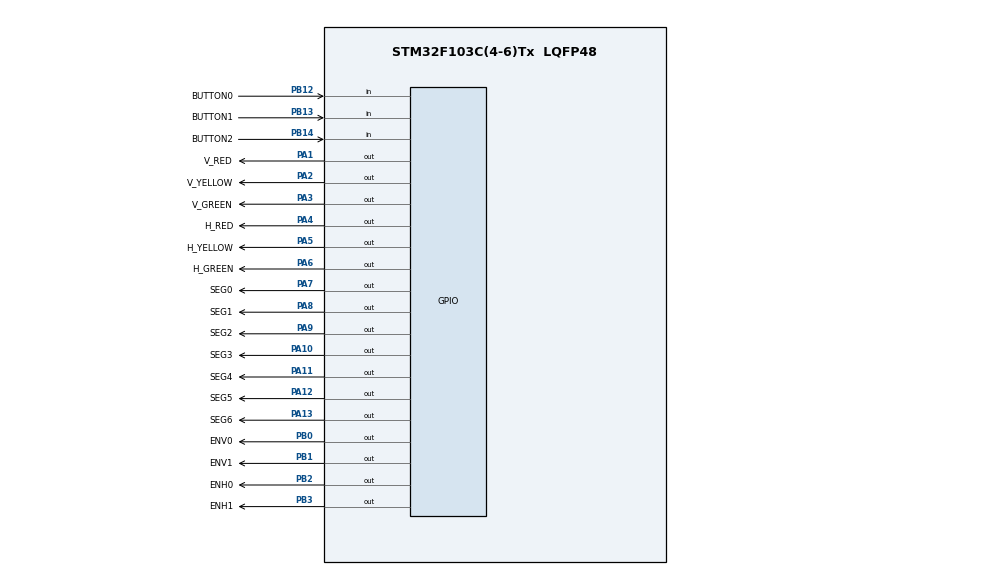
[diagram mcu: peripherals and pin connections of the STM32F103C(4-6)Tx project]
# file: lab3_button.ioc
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Mcu.Family=STM32F1
Mcu.Name=STM32F103C(4-6)Tx
Mcu.Package=LQFP48
NVIC.PriorityGroup=NVIC_PRIORITYGROUP_4
NVIC.TIM2_IRQn=true\:0\:0\:false\:false\:true\:true\:true
PA1.GPIO_Label=V_RED
PA1.Signal=GPIO_Output
PA10.GPIO_Label=SEG3
PA10.Signal=GPIO_Output
PA11.GPIO_Label=SEG4
PA11.Signal=GPIO_Output
PA12.GPIO_Label=SEG5
PA12.Signal=GPIO_Output
PA13.GPIO_Label=SEG6
PA13.Signal=GPIO_Output
PA2.GPIO_Label=V_YELLOW
PA2.Signal=GPIO_Output
PA3.GPIO_Label=V_GREEN
PA3.Signal=GPIO_Output
PA4.GPIO_Label=H_RED
PA4.Signal=GPIO_Output
PA5.GPIO_Label=H_YELLOW
PA5.Signal=GPIO_Output
PA6.GPIO_Label=H_GREEN
PA6.Signal=GPIO_Output
PA7.GPIO_Label=SEG0
PA7.Signal=GPIO_Output
PA8.GPIO_Label=SEG1
PA8.Signal=GPIO_Output
PA9.GPIO_Label=SEG2
PA9.Signal=GPIO_Output
PB0.GPIO_Label=ENV0
PB0.Signal=GPIO_Output
PB1.GPIO_Label=ENV1
PB1.Signal=GPIO_Output
PB12.GPIO_Label=BUTTON0
PB12.GPIO_PuPd=GPIO_PULLUP
PB12.Signal=GPIO_Input
PB13.GPIO_Label=BUTTON1
PB13.GPIO_PuPd=GPIO_PULLUP
PB13.Signal=GPIO_Input
PB14.GPIO_Label=BUTTON2
PB14.GPIO_PuPd=GPIO_PULLUP
PB14.Signal=GPIO_Input
PB2.GPIO_Label=ENH0
PB2.Signal=GPIO_Output
PB3.GPIO_Label=ENH1
PB3.Signal=GPIO_Output
ProjectManager.HeapSize=0x200
ProjectManager.StackSize=0x400
ProjectManager.TargetToolchain=STM32CubeIDE
RCC.APB1Freq_Value=8000000
RCC.APB2Freq_Value=8000000
TIM2.Period=9
TIM2.Prescaler=7999
VP_SYS_VS_ND.Mode=No_Debug
VP_TIM2_VS_ClockSourceINT.Mode=Internal
board=custom

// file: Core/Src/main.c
/* USER CODE BEGIN Header */
/**
  ******************************************************************************
  * @file           : main.c
  * @brief          : Main program body
  ******************************************************************************
  * @attention
  *
  * <h2><center>&copy; Copyright (c) 2023 STMicroelectronics.
  * All rights reserved.</center></h2>
  *
  * This software component is licensed by ST under BSD 3-Clause license,
  * the "License"; You may not use this file except in compliance with the
  * License. You may obtain a copy of the License at:
  *                        opensource.org/licenses/BSD-3-Clause
  *
  ******************************************************************************
  */
/* USER CODE END Header */
#include "main.h"

/* USER CODE BEGIN Includes */
#include "software_timer.h"
#include "button.h"
#include "traffic_light.h"
#include "led7seg.h"
#include "mode1.h"
#include "mode2.h"
#include "mode3.h"
#include "mode4.h"
/* USER CODE END Includes */

/* USER CODE BEGIN PD */
#define CHANGE_1 100	// (*timer_interupt_duration)
#define CHANGE_2 25

/* USER CODE END PD */

TIM_HandleTypeDef htim2;

void SystemClock_Config(void);
static void MX_GPIO_Init(void);
static void MX_TIM2_Init(void);

int main(void)
{

  /* MCU Configuration--------------------------------------------------------*/

  /* Reset of all peripherals, Initializes the Flash interface and the Systick. */
  HAL_Init();

  /* Configure the system clock */
  SystemClock_Config();

  /* Initialize all configured peripherals */
  MX_GPIO_Init();
  MX_TIM2_Init();
  /* USER CODE BEGIN 2 */
  HAL_TIM_Base_Start_IT(&htim2);
  /* USER CODE END 2 */

  /* Infinite loop */
  /* USER CODE BEGIN WHILE */
  /* Initialize initial value */
  // timer interupt
  set_timer(0, 2);	// change mode
  set_timer(1, 2);	// blink led
  set_timer(2, 2);	// scan 7-segment led
  // led
  HAL_GPIO_WritePin(V_RED_GPIO_Port, V_RED_Pin|V_YELLOW_Pin|V_GREEN_Pin|
						   H_RED_Pin|H_YELLOW_Pin|H_GREEN_Pin, SET);
  // button
  init_button_state();
  STATE button[MAX_BUTTON];
  button[0] = NORMAL;
  button[1] = NORMAL;
  button[2] = NORMAL;
  // finite state machine
  FSM_STATE state = MODE_1;
  setState1(INIT);
  mode1();
  TRAFFIC start_state = RED_GREEN;
  setState1(start_state);
  // 7-segment led
  HAL_GPIO_WritePin(GPIOB, ENV0_Pin|ENV1_Pin|ENH0_Pin|ENH1_Pin, SET);

  while (1)
  {
	  if (isPressed(0))
		  button[0] = PRESSED;
	  else if (isLongPressed(0))
		  button[0] = LONG_PRESSED;
	  else
		  button[0] = NORMAL;

	  if (isPressed(1))
  		  button[1] = PRESSED;
  	  else if (isLongPressed(1))
  		  button[1] = LONG_PRESSED;
  	  else
  		  button[1] = NORMAL;

	  if (isPressed(2))
  		  button[2] = PRESSED;
 	  else if (isLongPressed(0))
  		  button[2] = LONG_PRESSED;
  	  else
  		  button[2] = NORMAL;

	  switch (button[0])
	  {
	  case NORMAL:
		  break;
	  case PRESSED:
		  // increase mode
		  if (state >= MODE_4)
		  {
			  state = MODE_1;
		  }
		  else
		  {
			  state++;
		  }
		  // set up environment
		  switch(state)
		  {
		  case MODE_1:
			  setState1(INIT);
			  break;
		  case MODE_2:
			  setState2(MODE2_INIT);
			  break;
		  case MODE_3:
			  setState3(MODE3_INIT);
			  break;
		  case MODE_4:
			  setState4(MODE4_INIT);
			  break;
		  break;
		  }
	  case LONG_PRESSED:
		  break;
	  default:
		  break;
	  }

	  switch (button[1])
	  {
	  case NORMAL:
		  // increase led duration
		  break;
	  case PRESSED:
		  break;
	  case LONG_PRESSED:
		  break;
	  default:
		  break;
	  }

	  switch (button[2])
	  {
	  case NORMAL:
		  // set time duration for led
		  break;
	  case PRESSED:
		  break;
	  case LONG_PRESSED:
		  break;
	  default:
		  break;
	  }

	  switch (state)
	  {
	  case MODE_1:
		  mode1();
		  break;
	  case MODE_2:
		  switch (button[1])
	  	  {
	  	  case NORMAL:
	  		  break;
	  	  case PRESSED:
	  		  // increase led duration
	  		  setState2(MODE2_INCREASE);
	  		  break;
	  	  case LONG_PRESSED:
	  		  break;
	  	  default:
	  		  break;
	  	  }

		  switch (button[2])
		  {
		  case NORMAL:
			  break;
		  case PRESSED:
			  // set time duration for led
			  setState2(MODE2_SET_TIME);
			  break;
		  case LONG_PRESSED:
			  break;
		  default:
			  break;
		  }

		  mode2();
		  displayVertical(2);
		  blinkRed();
		  break;
	  case MODE_3:
		  switch (button[1])
	  	  {
	  	  case NORMAL:
	  		  break;
	  	  case PRESSED:
	  		  // increase led duration
	  		  setState2(MODE2_INCREASE);
	  		  break;
	  	  case LONG_PRESSED:
	  		  break;
	  	  default:
	  		  break;
	  	  }

		  switch (button[2])
		  {
		  case NORMAL:
			  break;
		  case PRESSED:
			  // set time duration for led
			  setState2(MODE2_SET_TIME);
			  break;
		  case LONG_PRESSED:
			  break;
		  default:
			  break;
		  }

		  mode3();
		  displayVertical(3);
		  blinkYellow();
		  break;
	  case MODE_4:
		  switch (button[1])
	  	  {
	  	  case NORMAL:
	  		  break;
	  	  case PRESSED:
	  		  // increase led duration
	  		  setState2(MODE2_INCREASE);
	  		  break;
	  	  case LONG_PRESSED:
	  		  break;
	  	  default:
	  		  break;
	  	  }

		  switch (button[2])
		  {
		  case NORMAL:
			  break;
		  case PRESSED:
			  // set time duration for led
			  setState2(MODE2_SET_TIME);
			  break;
		  case LONG_PRESSED:
			  break;
		  default:
			  break;
		  }

		  mode4();
		  displayVertical(4);
		  blinkGreen();
		  break;
	  default:
		  break;
	  }

	  update7seg();
    /* USER CODE END WHILE */

  }
}

void SystemClock_Config(void)
{
  RCC_OscInitTypeDef RCC_OscInitStruct = {0};
  RCC_ClkInitTypeDef RCC_ClkInitStruct = {0};

  /** Initializes the RCC Oscillators according to the specified parameters
  * in the RCC_OscInitTypeDef structure.
  */
  RCC_OscInitStruct.OscillatorType = RCC_OSCILLATORTYPE_HSI;
  RCC_OscInitStruct.HSIState = RCC_HSI_ON;
  RCC_OscInitStruct.HSICalibrationValue = RCC_HSICALIBRATION_DEFAULT;
  RCC_OscInitStruct.PLL.PLLState = RCC_PLL_NONE;
  if (HAL_RCC_OscConfig(&RCC_OscInitStruct) != HAL_OK)
  {
    Error_Handler();
  }
  /** Initializes the CPU, AHB and APB buses clocks
  */
  RCC_ClkInitStruct.ClockType = RCC_CLOCKTYPE_HCLK|RCC_CLOCKTYPE_SYSCLK
                              |RCC_CLOCKTYPE_PCLK1|RCC_CLOCKTYPE_PCLK2;
  RCC_ClkInitStruct.SYSCLKSource = RCC_SYSCLKSOURCE_HSI;
  RCC_ClkInitStruct.AHBCLKDivider = RCC_SYSCLK_DIV1;
  RCC_ClkInitStruct.APB1CLKDivider = RCC_HCLK_DIV1;
  RCC_ClkInitStruct.APB2CLKDivider = RCC_HCLK_DIV1;

  if (HAL_RCC_ClockConfig(&RCC_ClkInitStruct, FLASH_LATENCY_0) != HAL_OK)
  {
    Error_Handler();
  }
}

static void MX_TIM2_Init(void)
{

  TIM_ClockConfigTypeDef sClockSourceConfig = {0};
  TIM_MasterConfigTypeDef sMasterConfig = {0};

  htim2.Instance = TIM2;
  htim2.Init.Prescaler = 7999;
  htim2.Init.CounterMode = TIM_COUNTERMODE_UP;
  htim2.Init.Period = 9;
  htim2.Init.ClockDivision = TIM_CLOCKDIVISION_DIV1;
  htim2.Init.AutoReloadPreload = TIM_AUTORELOAD_PRELOAD_DISABLE;
  if (HAL_TIM_Base_Init(&htim2) != HAL_OK)
  {
    Error_Handler();
  }
  sClockSourceConfig.ClockSource = TIM_CLOCKSOURCE_INTERNAL;
  if (HAL_TIM_ConfigClockSource(&htim2, &sClockSourceConfig) != HAL_OK)
  {
    Error_Handler();
  }
  sMasterConfig.MasterOutputTrigger = TIM_TRGO_RESET;
  sMasterConfig.MasterSlaveMode = TIM_MASTERSLAVEMODE_DISABLE;
  if (HAL_TIMEx_MasterConfigSynchronization(&htim2, &sMasterConfig) != HAL_OK)
  {
    Error_Handler();
  }

}

static void MX_GPIO_Init(void)
{
  GPIO_InitTypeDef GPIO_InitStruct = {0};

  /* GPIO Ports Clock Enable */
  __HAL_RCC_GPIOA_CLK_ENABLE();
  __HAL_RCC_GPIOB_CLK_ENABLE();

  /*Configure GPIO pin Output Level */
  HAL_GPIO_WritePin(GPIOA, V_RED_Pin|V_YELLOW_Pin|V_GREEN_Pin|H_RED_Pin
                          |H_YELLOW_Pin|H_GREEN_Pin|SEG0_Pin|SEG1_Pin
                          |SEG2_Pin|SEG3_Pin|SEG4_Pin|SEG5_Pin
                          |SEG6_Pin, GPIO_PIN_RESET);

  /*Configure GPIO pin Output Level */
  HAL_GPIO_WritePin(GPIOB, ENV0_Pin|ENV1_Pin|ENH0_Pin|ENH1_Pin, GPIO_PIN_RESET);

  /*Configure GPIO pins : V_RED_Pin V_YELLOW_Pin V_GREEN_Pin H_RED_Pin
                           H_YELLOW_Pin H_GREEN_Pin SEG0_Pin SEG1_Pin
                           SEG2_Pin SEG3_Pin SEG4_Pin SEG5_Pin
                           SEG6_Pin */
  GPIO_InitStruct.Pin = V_RED_Pin|V_YELLOW_Pin|V_GREEN_Pin|H_RED_Pin
                          |H_YELLOW_Pin|H_GREEN_Pin|SEG0_Pin|SEG1_Pin
                          |SEG2_Pin|SEG3_Pin|SEG4_Pin|SEG5_Pin
                          |SEG6_Pin;
  GPIO_InitStruct.Mode = GPIO_MODE_OUTPUT_PP;
  GPIO_InitStruct.Pull = GPIO_NOPULL;
  GPIO_InitStruct.Speed = GPIO_SPEED_FREQ_LOW;
  HAL_GPIO_Init(GPIOA, &GPIO_InitStruct);

  /*Configure GPIO pins : ENV0_Pin ENV1_Pin ENH0_Pin ENH1_Pin */
  GPIO_InitStruct.Pin = ENV0_Pin|ENV1_Pin|ENH0_Pin|ENH1_Pin;
  GPIO_InitStruct.Mode = GPIO_MODE_OUTPUT_PP;
  GPIO_InitStruct.Pull = GPIO_NOPULL;
  GPIO_InitStruct.Speed = GPIO_SPEED_FREQ_LOW;
  HAL_GPIO_Init(GPIOB, &GPIO_InitStruct);

  /*Configure GPIO pins : BUTTON0_Pin BUTTON1_Pin BUTTON2_Pin */
  GPIO_InitStruct.Pin = BUTTON0_Pin|BUTTON1_Pin|BUTTON2_Pin;
  GPIO_InitStruct.Mode = GPIO_MODE_INPUT;
  GPIO_InitStruct.Pull = GPIO_PULLUP;
  HAL_GPIO_Init(GPIOB, &GPIO_InitStruct);

}

/* USER CODE BEGIN 4 */
void HAL_TIM_PeriodElapsedCallback(TIM_HandleTypeDef *htim){
	run_timer(0);
	run_timer(1);
	run_timer(2);
	run_timer(3);
	run_timer(4);
	getKey(0);
	getKey(1);
	getKey(2);
}
/* USER CODE END 4 */

void Error_Handler(void)
{
  __disable_irq();
  while (1)
  {
  }
}

/************************ (C) COPYRIGHT STMicroelectronics *****END OF FILE****/
